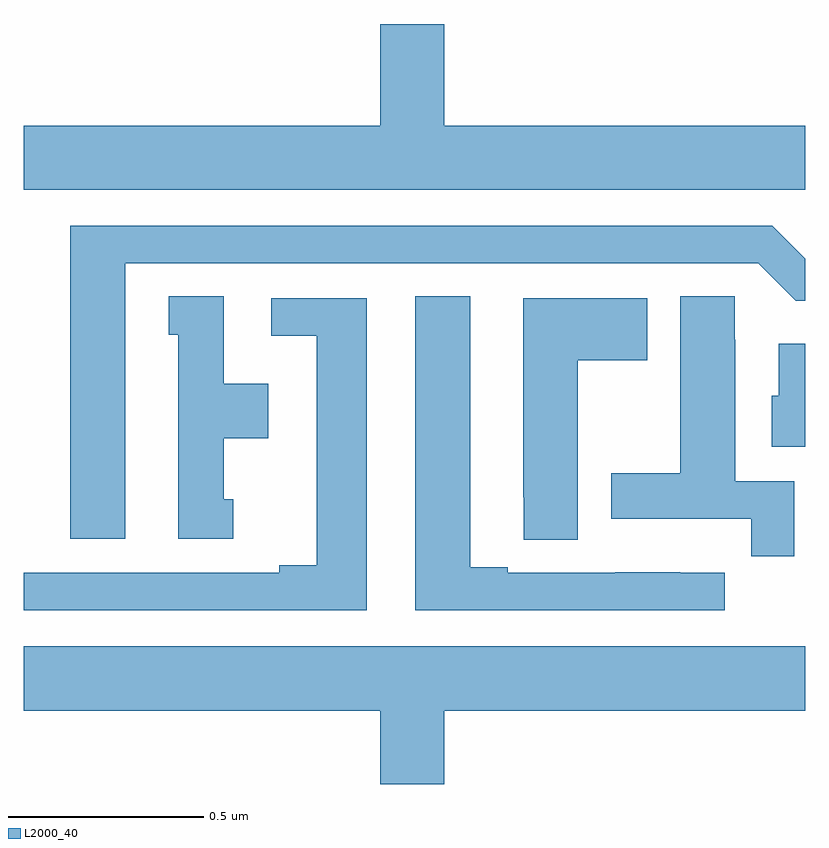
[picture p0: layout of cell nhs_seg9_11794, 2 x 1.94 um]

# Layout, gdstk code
import gdstk
lib = gdstk.Library(unit=1e-6, precision=1e-09)
def P(c, l, *ps):  # polygons
    for p in ps: c.add(gdstk.Polygon(p, *l))
L2000_40 = (2000, 40)

nhs_seg9_11794 = lib.new_cell('nhs_seg9_11794')
P(nhs_seg9_11794, L2000_40, [(262,1207.24),(261.076,1207.24),(261.076,1207.5),(260.912,1207.5),(260.912,1207.24),(260,1207.24),(260,1207.076),(262,1207.076)],
  [(260.26,1206.888),(261.879,1206.888),(261.975,1206.792),(262,1206.792),(262,1206.899),(261.915,1206.984),(260.12,1206.984),(260.12,1206.183),(260.26,1206.183)],
  [(261.793,1206.096),(261.68,1206.096),(261.68,1206.097),(261.514,1206.097),(261.514,1206.096),(261.238,1206.096),(261.238,1206.111),(261.142,1206.111),(261.142,1206.803),(261.002,1206.803),(261.002,1206),(261.793,1206)],
  [(261.971,1206.33),(261.82,1206.33),(261.82,1206.692),(261.819,1206.692),(261.819,1206.803),(261.68,1206.803),(261.68,1206.351),(261.503,1206.351),(261.503,1206.234),(261.862,1206.234),(261.862,1206.138),(261.971,1206.138)],
  [(260.536,1206.285),(260.512,1206.285),(260.512,1206.44),(260.626,1206.44),(260.626,1206.58),(260.512,1206.58),(260.512,1206.803),(260.372,1206.803),(260.372,1206.705),(260.396,1206.705),(260.396,1206.183),(260.536,1206.183)],
  [(261.418,1206.64),(261.595,1206.64),(261.595,1206.799),(261.278,1206.799),(261.278,1206.289),(261.279,1206.289),(261.279,1206.181),(261.418,1206.181)],
  [(260.878,1206.798),(260.634,1206.798),(260.634,1206.702),(260.75,1206.702),(260.75,1206.116),(260.654,1206.116),(260.654,1206.096),(260,1206.096),(260,1206),(260.878,1206)],
  [(262,1206.682),(261.932,1206.682),(261.932,1206.549),(261.914,1206.549),(261.914,1206.419),(262,1206.419)],
  [(261.076,1205.744),(262,1205.744),(262,1205.908),(260,1205.908),(260,1205.744),(260.912,1205.744),(260.912,1205.556),(261.076,1205.556)])

lib.write_gds('nhs_seg9_11794.gds')
